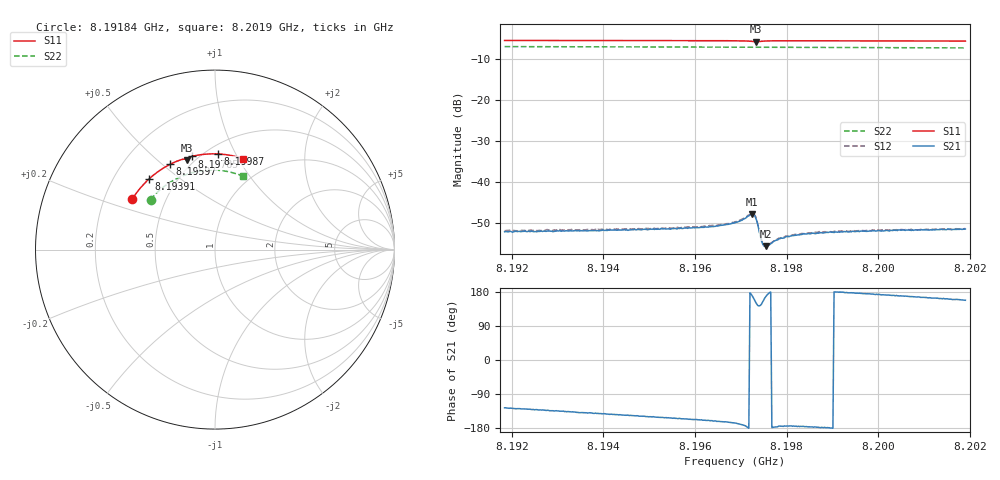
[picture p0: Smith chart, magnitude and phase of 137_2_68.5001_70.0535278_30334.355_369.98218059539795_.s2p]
#  HZ  S  RI  R  50.00
! Rohde & Schwarz Vector Network Analyzer
! Rohde-Schwarz,ZNB20-2Port,1311601062101988,3.16
! Created: UTC 3/20/2024, 5:09:52 PM
! freq[Hz]  re:S11  im:S11  re:S21  im:S21  re:S12  im:S12  re:S22  im:S22
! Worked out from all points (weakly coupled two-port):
!   401 points, 8.19184 GHz to 8.2019 GHz, reference 50 ohm
!   highest |S21| = -47.89 dB at 8.19725 GHz (marker M1); lowest = -55.7 dB at 8.19755 GHz (marker M2)
!   lowest |S11| = -5.7 dB at 8.19733 GHz (marker M3), VSWR 3.18, Z = 23 + j31.3 ohm
!   |S11| at or under -10 dB: nowhere
!   |S22| runs from -7.2 to -6.9 dB; largest |S21 - S12| = 0.0002
!   S11 on the Smith chart (normalised r, x): 8.19184 GHz: 0.32, +0.25; 8.19391 GHz: 0.35, +0.39; 8.19597 GHz: 0.40, +0.53; 8.19785 GHz: 0.46, +0.67; 8.19987 GHz: 0.57, +0.85; 8.2019 GHz: 0.74, +1.05
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8.191844e9  -0.4609 0.2812  -0.00145 -0.00199  -0.00155 -0.00201  -0.359 0.2783
8.193529e9  -0.3878 0.3741  -0.0019 -0.00168  -0.00201 -0.00164  -0.2925 0.3444
8.193906e9  -0.3687 0.3927  -0.00198 -0.00157  -0.00208 -0.0016  -0.2756 0.3574
8.195214e9  -0.2958 0.449  -0.00232 -0.00126  -0.00245 -0.00123  -0.2133 0.3956
8.195968e9  -0.2494 0.4756  -0.00255 -0.00108  -0.00265 -0.00102  -0.1747 0.4128
8.196496e9  -0.2148 0.4914  -0.00275 -0.000904  -0.00285 -0.000809  -0.1467 0.4227
8.196873e9  -0.1883 0.501  -0.0031 -0.000742  -0.0032 -0.000642  -0.1263 0.4287
8.1972e9  -0.1614 0.5036  -0.00396 0.000192  -0.00397 0.000351  -0.108 0.4328
8.19725e9  -0.1578 0.5012  -0.00396 0.00075  -0.00401 0.000902  -0.1052 0.4333
8.197301e9  -0.1565 0.498  -0.00362 0.00145  -0.00363 0.0016  -0.1027 0.4338
8.197326e9  -0.157 0.4968  -0.00321 0.00169  -0.00326 0.00188  -0.1015 0.434
8.197351e9  -0.1583 0.4969  -0.00277 0.00181  -0.00275 0.00195  -0.1002 0.4342
8.197452e9  -0.1587 0.5036  -0.00161 0.00103  -0.00162 0.00111  -0.0946 0.4356
8.197477e9  -0.1573 0.5055  -0.00155 0.000794  -0.00158 0.000901  -0.0932 0.4357
8.197502e9  -0.1557 0.5071  -0.00154 0.000605  -0.00155 0.000664  -0.0918 0.4362
8.197552e9  -0.1521 0.5099  -0.00161 0.000331  -0.00161 0.000393  -0.0891 0.4367
8.197854e9  -0.1294 0.5188  -0.00201 -0.000197  -0.00204 -0.000134  -0.0722 0.4394
8.198131e9  -0.1093 0.5236  -0.0022 -0.000195  -0.00224 -0.000106  -0.0566 0.4411
8.198558e9  -0.0788 0.5288  -0.00236 -0.000143  -0.0024 -2.78e-05  -0.0323 0.4428
8.199866e9  0.0139 0.533  -0.00252 0.000268  -0.00256 0.000416  0.0418 0.4396
8.200243e9  0.0406 0.5313  -0.00248 0.000387  -0.00255 0.000526  0.063 0.4363
8.201903e9  0.1553 0.5075  -0.00246 0.00101  -0.00246 0.00109  0.1539 0.4096
